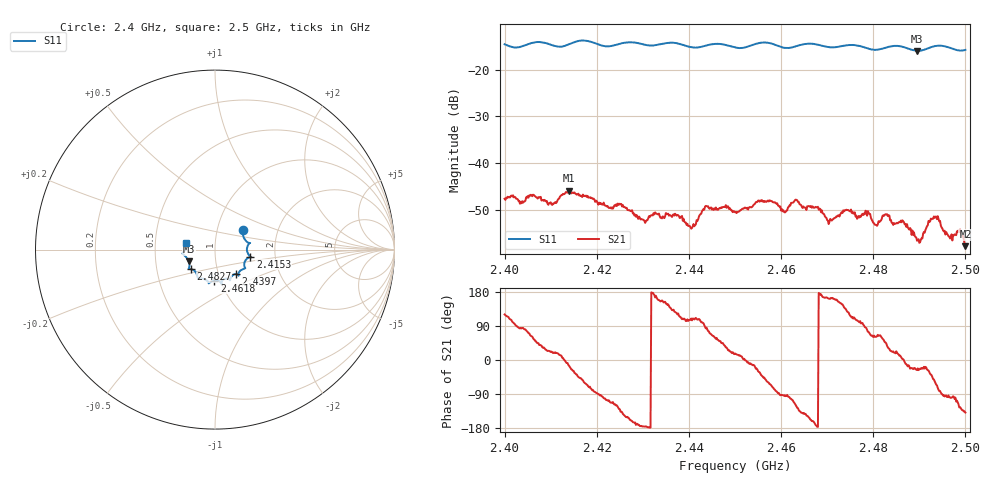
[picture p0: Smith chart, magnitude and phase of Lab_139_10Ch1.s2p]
# Hz S RI R 50
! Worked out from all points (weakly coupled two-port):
!   601 points, 2.4 GHz to 2.5 GHz, reference 50 ohm
!   highest |S21| = -45.93 dB at 2.414 GHz (marker M1); lowest = -57.8 dB at 2.5 GHz (marker M2)
!   lowest |S11| = -15.9 dB at 2.4895 GHz (marker M3), VSWR 1.38, Z = 37 - j5.03 ohm
!   |S11| at or under -10 dB: start of sweep to end of sweep
!   S12 and S22 are empty: the file has one direction only
!   S11 on the Smith chart (normalised r, x): 2.4 GHz: 1.33, +0.29; 2.4153 GHz: 1.48, -0.12; 2.4397 GHz: 1.21, -0.34; 2.4618 GHz: 0.94, -0.33; 2.4827 GHz: 0.75, -0.17; 2.5 GHz: 0.72, +0.06
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2.4e9  0.1554 0.1067  -0.00208 0.00358  0 0  0 0
2.410667e9  0.181 0.0187  0.00345 0.00123  0 0  0 0
2.414e9  0.1866 -0.0273  0.00487 -0.00135  0 0  0 0
2.415333e9  0.1964 -0.0388  0.00384 -0.00272  0 0  0 0
2.416667e9  0.2023 -0.0428  0.00286 -0.00342  0 0  0 0
2.430167e9  0.1516 -0.1112  -0.00245 -0.000186  0 0  0 0
2.433333e9  0.1301 -0.1344  -0.00262 0.00104  0 0  0 0
2.439667e9  0.1166 -0.1363  -0.000662 0.00213  0 0  0 0
2.443667e9  0.0859 -0.1609  0.000401 0.00344  0 0  0 0
2.45e9  0.0642 -0.1622  0.00283 0.000877  0 0  0 0
2.455333e9  0.0364 -0.1914  0.00326 -0.00206  0 0  0 0
2.461833e9  -0.00299 -0.1725  -0.000525 -0.00347  0 0  0 0
2.466667e9  -0.0346 -0.188  -0.00314 -0.00107  0 0  0 0
2.4705e9  -0.0528 -0.1674  -0.00223 0.00074  0 0  0 0
2.474e9  -0.0887 -0.1604  -0.00222 0.00219  0 0  0 0
2.478833e9  -0.1026 -0.1353  0.000813 0.00294  0 0  0 0
2.4805e9  -0.1142 -0.1182  0.00104 0.0019  0 0  0 0
2.482667e9  -0.1349 -0.1086  0.00195 0.00204  0 0  0 0
2.483333e9  -0.14 -0.1082  0.00236 0.00141  0 0  0 0
2.4895e9  -0.146 -0.0662  0.00131 -0.000656  0 0  0 0
2.493667e9  -0.1798 -0.0236  0.00112 -0.00241  0 0  0 0
2.5e9  -0.1593 0.0388  -0.000962 -0.000847  0 0  0 0
